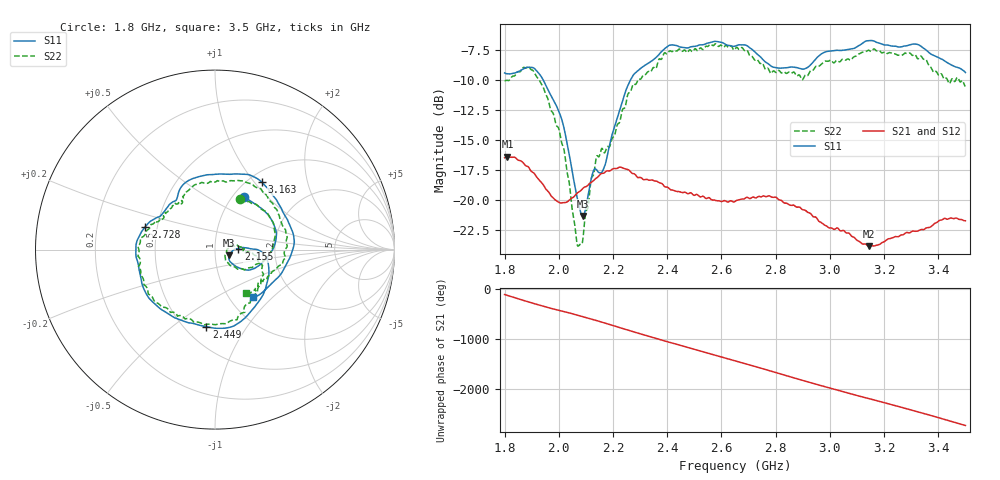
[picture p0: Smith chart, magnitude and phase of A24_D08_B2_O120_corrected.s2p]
! Created with skrf 1.9.0 (http://scikit-rf.org).
# Hz S RI R 50.0
!freq ReS11 ImS11 ReS21 ImS21 ReS12 ImS12 ReS22 ImS22
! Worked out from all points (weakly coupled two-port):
!   1601 points, 1.8 GHz to 3.5 GHz, reference 50 ohm
!   highest |S21| = -16.40 dB at 1.811 GHz (marker M1); lowest = -23.8 dB at 3.143 GHz (marker M2)
!   lowest |S11| = -21.3 dB at 2.089 GHz (marker M3), VSWR 1.19, Z = 58.6 - j3.7 ohm
!   |S11| at or under -10 dB: 1.942 GHz to 2.265 GHz (322.8 MHz wide, 15.3 % of centre)
!   |S22| runs from -23.8 to -7.0 dB; largest |S21 - S12| = 0.0029
!   S11 on the Smith chart (normalised r, x): 1.8 GHz: 1.12, +0.75; 2.155 GHz: 1.30, +0.00; 2.449 GHz: 0.63, -0.67; 2.728 GHz: 0.43, +0.13; 3.163 GHz: 1.15, +1.10; 3.5 GHz: 1.27, -0.77
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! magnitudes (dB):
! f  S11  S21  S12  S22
! 1.8 GHz  -9.4  -16.5  -16.5  -10.1
! 1.811 GHz  -9.5  -16.4  -16.4  -10.0
! 1.886 GHz  -9.0  -17.2  -17.3  -8.9
! 1.94 GHz  -9.9  -18.7  -18.7  -10.5
! 2.011 GHz  -13.3  -20.2  -20.2  -15.3
! 2.066 GHz  -19.6  -19.5  -19.5  -23.4
! 2.084 GHz  -21.2  -19.2  -19.1  -23.7
! 2.089 GHz  -21.3  -19.0  -19.1  -23.2
! 2.127 GHz  -17.6  -18.4  -18.4  -17.9
! 2.155 GHz  -17.7  -17.8  -17.9  -15.9
! 2.192 GHz  -15.0  -17.5  -17.5  -15.2
! 2.262 GHz  -10.1  -17.6  -17.6  -11.1
! 2.367 GHz  -8.0  -18.5  -18.5  -8.4
! 2.449 GHz  -7.3  -19.3  -19.3  -7.5
! 2.65 GHz  -7.2  -20.1  -20.1  -7.5
! 2.728 GHz  -7.8  -19.8  -19.8  -8.3
! 2.8 GHz  -9.0  -19.8  -19.8  -9.4
! 2.934 GHz  -8.6  -21.2  -21.2  -9.2
! 3.143 GHz  -6.8  -23.8  -23.7  -7.5
! 3.163 GHz  -6.8  -23.8  -23.8  -7.4
! 3.217 GHz  -7.1  -23.2  -23.2  -7.8
! 3.5 GHz  -9.4  -21.7  -21.7  -10.5
